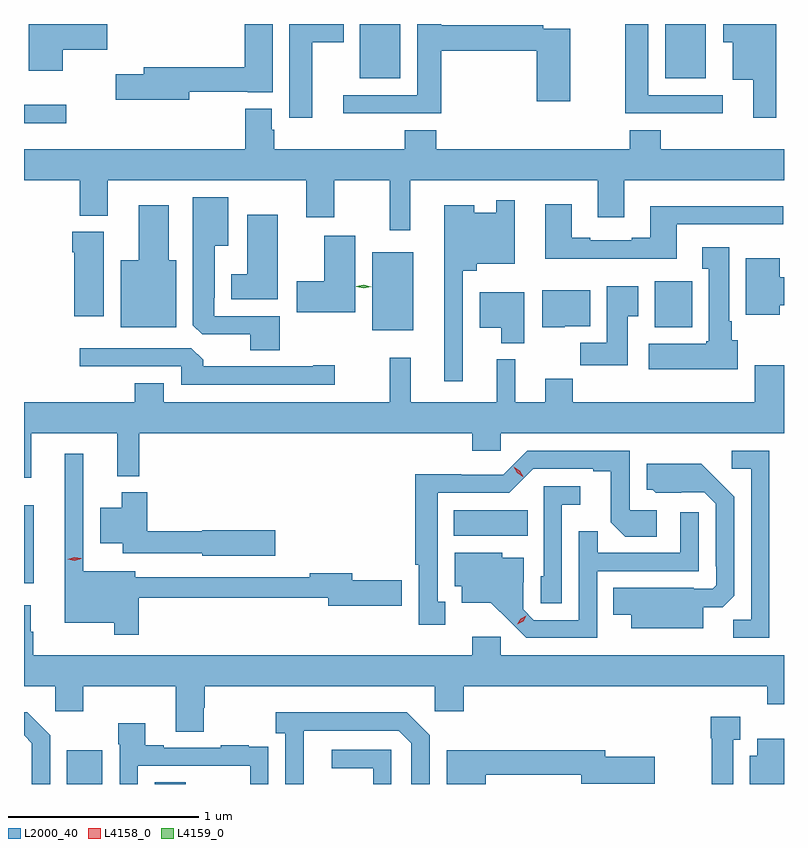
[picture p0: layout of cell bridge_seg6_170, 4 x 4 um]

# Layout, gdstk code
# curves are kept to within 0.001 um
import gdstk
lib = gdstk.Library(unit=1e-6, precision=1e-09)
def R(c, l, rs):  # rectangles x0, y0, x1, y1
    for r in rs: c.add(gdstk.rectangle(r[:2], r[2:], *l))
def P(c, l, *ps):  # polygons
    for p in ps: c.add(gdstk.Polygon(p, *l))
L2000_40 = (2000, 40)
L4158_0 = (4158, 0)
L4159_0 = (4159, 0)

bridge_seg6_170 = lib.new_cell('bridge_seg6_170')
R(bridge_seg6_170, L2000_40, [(122.234,977.458,122.421,977.635), (122.696,977.458,122.86,977.468), (122.008,978.515,122.059,978.925), (124.271,978.764,124.658,978.898), (123.842,979.847,124.057,980.257), (125.327,979.862,125.524,980.104), (122.008,980.936,122.23,981.033), (123.776,981.173,123.988,981.458), (125.384,981.173,125.596,981.458)])
P(bridge_seg6_170, L2000_40, [(123.526,981.362),(123.691,981.362),(123.691,981.458),(123.404,981.458),(123.404,980.964),(123.526,980.964)],
  [(122.212,981.323),(122.447,981.323),(122.447,981.458),(122.033,981.458),(122.033,981.212),(122.212,981.212)],
  [(125.686,981.084),(125.293,981.084),(125.293,981.458),(125.173,981.458),(125.173,980.987),(125.686,980.987)],
  [(125.968,981.458),(125.687,981.458),(125.687,981.362),(125.738,981.362),(125.738,981.164),(125.846,981.164),(125.846,980.964),(125.968,980.964)],
  [(124.205,981.316),(124.706,981.316),(124.706,981.051),(124.884,981.051),(124.884,981.432),(124.742,981.432),(124.742,981.452),(124.205,981.452),(124.205,981.458),(124.079,981.458),(124.079,981.084),(123.687,981.084),(123.687,980.987),(124.205,980.987)],
  [(122.878,981.102),(123.186,981.102),(123.186,981.098),(123.316,981.098),(123.316,981.458),(123.17,981.458),(123.17,981.23),(122.639,981.23),(122.639,981.194),(122.49,981.194),(122.49,981.059),(122.878,981.059)],
  [(124.042,980.636),(125.027,980.636),(125.027,980.442),(125.167,980.442),(125.167,980.636),(126.008,980.636),(126.008,980.8),(125.36,980.8),(125.36,980.899),(125.195,980.899),(125.195,980.8),(124.178,980.8),(124.178,980.899),(124.013,980.899),(124.013,980.8),(123.326,980.8),(123.326,980.901),(123.313,980.901),(123.313,981.013),(123.173,981.013),(123.173,980.8),(122.008,980.8),(122.008,980.636),(122.302,980.636),(122.302,980.449),(122.449,980.449),(122.449,980.636),(123.494,980.636),(123.494,980.442),(123.642,980.442),(123.642,980.636),(123.933,980.636),(123.933,980.373),(124.042,980.373)],
  [(123.353,979.92),(123.009,979.92),(123.009,980.017),(123.013,980.017),(123.013,980.291),(123.082,980.291),(123.082,980.545),(122.897,980.545),(122.897,979.873),(122.946,979.824),(123.2,979.824),(123.2,979.741),(123.353,979.741)],
  [(124.317,980.159),(124.391,980.159),(124.391,980.195),(124.59,980.195),(124.59,980.53),(124.494,980.53),(124.494,980.464),(124.378,980.464),(124.378,980.503),(124.22,980.503),(124.22,979.578),(124.317,979.578)],
  [(125.443,980.403),(126.004,980.403),(126.004,980.5),(125.303,980.5),(125.303,980.332),(125.207,980.332),(125.207,980.319),(124.987,980.319),(124.987,980.332),(124.891,980.332),(124.891,980.509),(124.751,980.509),(124.751,980.222),(125.443,980.222)],
  [(122.809,980.215),(122.77,980.215),(122.77,980.503),(122.612,980.503),(122.612,980.215),(122.516,980.215),(122.516,979.862),(122.809,979.862)],
  [(123.343,980.455),(123.182,980.455),(123.182,980.14),(123.098,980.14),(123.098,980.009),(123.343,980.009)],
  [(122.428,980.364),(122.261,980.364),(122.261,980.258),(122.273,980.258),(122.273,979.92),(122.428,979.92)],
  [(123.751,980.344),(123.587,980.344),(123.587,980.103),(123.444,980.103),(123.444,979.94),(123.751,979.94)],
  [(125.764,979.794),(125.734,979.794),(125.734,979.894),(125.719,979.894),(125.719,980.284),(125.579,980.284),(125.579,980.171),(125.612,980.171),(125.612,979.788),(125.599,979.788),(125.599,979.774),(125.295,979.774),(125.295,979.64),(125.764,979.64)],
  [(125.986,979.979),(126.008,979.979),(126.008,980.126),(125.986,980.126),(125.986,980.224),(125.807,980.224),(125.807,979.928),(125.986,979.928)],
  [(125.185,979.921),(125.242,979.921),(125.242,980.077),(125.075,980.077),(125.075,979.78),(124.936,979.78),(124.936,979.662),(125.185,979.662)],
  [(124.854,979.868),(124.987,979.868),(124.987,980.056),(124.736,980.056),(124.736,979.862),(124.854,979.862)],
  [(124.642,980.047),(124.406,980.047),(124.406,979.859),(124.52,979.859),(124.52,979.778),(124.642,979.778)],
  [(123.643,979.661),(123.53,979.661),(123.53,979.656),(122.951,979.656),(122.951,979.69),(122.889,979.752),(122.301,979.752),(122.301,979.656),(122.835,979.656),(122.835,979.56),(123.643,979.56)],
  [(122.045,979.304),(122.498,979.304),(122.498,979.079),(122.615,979.079),(122.615,979.304),(124.367,979.304),(124.367,979.211),(124.518,979.211),(124.518,979.304),(126.008,979.304),(126.008,979.663),(125.855,979.663),(125.855,979.468),(124.895,979.468),(124.895,979.592),(124.751,979.592),(124.751,979.468),(124.594,979.468),(124.594,979.693),(124.496,979.693),(124.496,979.468),(124.043,979.468),(124.043,979.702),(123.933,979.702),(123.933,979.468),(122.743,979.468),(122.743,979.567),(122.591,979.567),(122.591,979.468),(122.008,979.468),(122.008,979.071),(122.045,979.071)],
  [(125.931,979.212),(125.733,979.212),(125.733,979.116),(125.835,979.116),(125.835,978.323),(125.74,978.323),(125.74,978.228),(125.931,978.228)],
  [(124.225,978.417),(124.186,978.417),(124.186,978.99),(124.563,978.99),(124.689,979.116),(125.003,979.116),(125.003,979.104),(125.097,979.104),(125.097,978.836),(125.173,978.76),(125.338,978.76),(125.338,978.9),(125.196,978.9),(125.196,979.212),(124.656,979.212),(124.53,979.086),(124.308,979.086),(124.308,979.088),(124.068,979.088),(124.068,978.613),(124.085,978.613),(124.085,978.297),(124.225,978.297)],
  [(122.612,978.438),(123.608,978.438),(123.608,978.395),(123.997,978.395),(123.997,978.53),(123.736,978.53),(123.736,978.566),(123.512,978.566),(123.512,978.546),(122.593,978.546),(122.593,978.577),(122.319,978.577),(122.319,979.195),(122.222,979.195),(122.222,978.308),(122.484,978.308),(122.484,978.243),(122.612,978.243)],
  [(125.584,978.389),(125.686,978.389),(125.745,978.448),(125.745,978.97),(125.573,979.144),(125.285,979.144),(125.285,979.008),(125.316,979.008),(125.332,978.992),(125.589,978.993),(125.649,978.933),(125.649,978.604),(125.652,978.604),(125.652,978.504),(125.634,978.486),(125.534,978.486),(125.534,978.49),(125.11,978.49),(125.11,978.35),(125.204,978.35),(125.204,978.278),(125.584,978.278)],
  [(124.839,978.929),(124.936,978.929),(124.936,979.026),(124.743,979.026),(124.743,978.552),(124.728,978.552),(124.728,978.409),(124.839,978.409)],
  [(123.331,978.794),(122.946,978.794),(122.946,978.788),(122.657,978.788),(122.657,978.994),(122.522,978.994),(122.522,978.913),(122.408,978.913),(122.408,978.725),(122.528,978.725),(122.528,978.672),(122.946,978.672),(122.946,978.659),(123.331,978.659)],
  [(125.025,978.579),(125.559,978.579),(125.559,978.889),(125.463,978.889),(125.463,978.675),(125.027,978.675),(125.027,978.788),(124.929,978.788),(124.929,978.321),(124.692,978.321),(124.635,978.378),(124.635,978.52),(124.639,978.52),(124.639,978.649),(124.524,978.649),(124.524,978.676),(124.274,978.676),(124.274,978.5),(124.313,978.5),(124.313,978.413),(124.465,978.413),(124.652,978.228),(125.025,978.228)],
  [(122.056,978.26),(122.044,978.26),(122.044,978.4),(122.008,978.4),(122.008,977.972),(122.172,977.972),(122.172,977.841),(122.319,977.841),(122.319,977.972),(122.807,977.972),(122.807,977.734),(122.955,977.734),(122.955,977.859),(122.96,977.859),(122.96,977.972),(124.17,977.972),(124.17,977.841),(124.322,977.841),(124.322,977.972),(125.921,977.972),(125.921,977.877),(126.008,977.877),(126.008,978.136),(124.518,978.136),(124.518,978.232),(124.367,978.232),(124.367,978.136),(122.056,978.136)],
  [(122.145,977.715),(122.024,977.836),(122.008,977.836),(122.008,977.714),(122.049,977.673),(122.049,977.458),(122.145,977.458)],
  [(123.48,977.539),(123.481,977.739),(123.981,977.739),(124.047,977.673),(124.047,977.458),(124.143,977.458),(124.143,977.715),(124.022,977.836),(123.333,977.836),(123.333,977.726),(123.384,977.726),(123.384,977.458),(123.48,977.458)],
  [(125.74,977.691),(125.779,977.691),(125.779,977.812),(125.622,977.812),(125.622,977.699),(125.629,977.699),(125.629,977.458),(125.74,977.458)],
  [(122.607,977.553),(123.198,977.553),(123.198,977.458),(123.294,977.458),(123.294,977.546),(123.293,977.546),(123.293,977.655),(123.191,977.655),(123.191,977.662),(123.043,977.662),(123.043,977.649),(122.743,977.649),(122.743,977.662),(122.647,977.662),(122.647,977.779),(122.503,977.779),(122.503,977.666),(122.511,977.666),(122.511,977.458),(122.607,977.458)],
  [(126.008,977.695),(125.867,977.695),(125.867,977.608),(125.828,977.608),(125.828,977.458),(126.008,977.458)],
  [(123.942,977.637),(123.627,977.637),(123.627,977.541),(123.846,977.541),(123.846,977.458),(123.942,977.458)],
  [(124.439,977.506),(124.94,977.506),(124.94,977.459),(125.329,977.459),(125.329,977.601),(125.068,977.601),(125.068,977.635),(124.232,977.635),(124.232,977.458),(124.439,977.458)])
P(bridge_seg6_170, L4158_0, [(124.604,978.299),(124.604,978.299),(124.622,978.329),(124.652,978.344),(124.652,978.344),(124.652,978.344),(124.635,978.314),(124.605,978.299)],
  [(124.634,979.075),(124.603,979.095),(124.586,979.127),(124.586,979.128),(124.586,979.128),(124.618,979.108),(124.635,979.076),(124.635,979.075)],
  [(122.274,978.632),(122.238,978.64),(122.237,978.64),(122.238,978.64),(122.272,978.652),(122.309,978.645),(122.309,978.644),(122.309,978.644)])
P(bridge_seg6_170, L4159_0, [(123.796,980.066),(123.756,980.076),(123.756,980.076),(123.756,980.077),(123.796,980.086),(123.836,980.075),(123.836,980.075),(123.836,980.075)])

lib.write_gds('bridge_seg6_170.gds')
